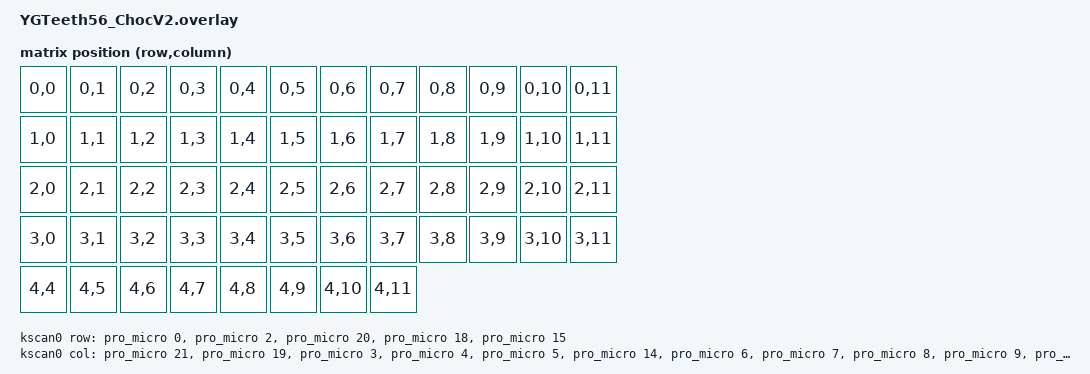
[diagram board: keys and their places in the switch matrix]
/*
 * Copyright (c) 2020 The ZMK Contributors
 *
 * SPDX-License-Identifier: MIT
 */

#include <dt-bindings/zmk/matrix_transform.h>
#include <layouts/YG/YGTeeth56_Ver2.dtsi>

//zmk studio 기본 매트릭스 지정
&ygteeth56Ver2_layout {
    transform = <&default_transform>;
};

/ {
    chosen
    {
        zmk,kscan = &kscan0;
        //zmk,matrix_transform = &default_transform;
        zmk,physical-layout = &ygteeth56Ver2_layout;
    };

    kscan0: kscan 
    {
        compatible = "zmk,kscan-gpio-matrix";
        diode-direction = "col2row";
        wakeup-source;
        row-gpios
            = <&pro_micro 0 (GPIO_ACTIVE_HIGH | GPIO_PULL_DOWN)>
            , <&pro_micro 2 (GPIO_ACTIVE_HIGH | GPIO_PULL_DOWN)>
            , <&pro_micro 20 (GPIO_ACTIVE_HIGH | GPIO_PULL_DOWN)>
            , <&pro_micro 18 (GPIO_ACTIVE_HIGH | GPIO_PULL_DOWN)>
            , <&pro_micro 15 (GPIO_ACTIVE_HIGH | GPIO_PULL_DOWN)>;

        col-gpios
            = <&pro_micro 21 GPIO_ACTIVE_HIGH>
            , <&pro_micro 19 GPIO_ACTIVE_HIGH>
            , <&pro_micro 3 GPIO_ACTIVE_HIGH>
            , <&pro_micro 4 GPIO_ACTIVE_HIGH>
            , <&pro_micro 5 GPIO_ACTIVE_HIGH>
            , <&pro_micro 14 GPIO_ACTIVE_HIGH>
            , <&pro_micro 6 GPIO_ACTIVE_HIGH>
            , <&pro_micro 7 GPIO_ACTIVE_HIGH>
            , <&pro_micro 8 GPIO_ACTIVE_HIGH>
            , <&pro_micro 9 GPIO_ACTIVE_HIGH>
            , <&pro_micro 16 GPIO_ACTIVE_HIGH>
            , <&pro_micro 10 GPIO_ACTIVE_HIGH>;
    };

    default_transform: keymap_transform_0
    {
        compatible = "zmk,matrix-transform";
        rows = <5>;
        columns = <12>;

        map = <
    //  C0      C1      C2      C3      C4      C5      C6      C7      C8      C9      C10      C11        
    //  ESC     Q       W       E       R       T       Y       U       I       O       P        [       
    //  BSPC    A       S       D       F       G       H       J       K       L       ;        '      
    //  LShift  Z       X       C       V       B       N       M       ,       .       /        Up      
    //  LCTRL   Lgui    LAlt    FN1     LCTRL   LALT    LALT    LCTRL   FN2     RALT    LEFT     DOWN    
    //  Space   Space   Bspc    RBKRT   RETURN  RSHIFT  RIGHT 
        RC(0,0) RC(0,1) RC(0,2) RC(0,3) RC(0,4) RC(0,5) RC(0,6) RC(0,7) RC(0,8) RC(0,9) RC(0,10) RC(0,11)
        RC(1,0) RC(1,1) RC(1,2) RC(1,3) RC(1,4) RC(1,5) RC(1,6) RC(1,7) RC(1,8) RC(1,9) RC(1,10) RC(1,11)
        RC(2,0) RC(2,1) RC(2,2) RC(2,3) RC(2,4) RC(2,5) RC(2,6) RC(2,7) RC(2,8) RC(2,9) RC(2,10) RC(2,11)
        RC(3,0) RC(3,1) RC(3,2) RC(3,3) RC(3,4) RC(3,5) RC(3,6) RC(3,7) RC(3,8) RC(3,9) RC(3,10) RC(3,11)
        RC(4,4) RC(4,5) RC(4,6) RC(4,7) RC(4,8) RC(4,9) RC(4,10) RC(4,11)
        >;
    };
};
